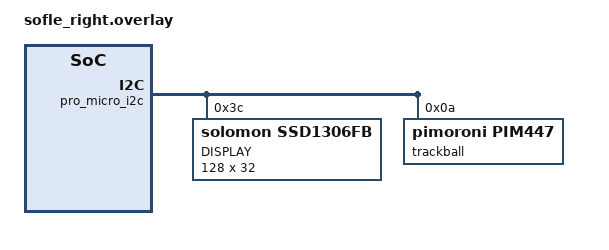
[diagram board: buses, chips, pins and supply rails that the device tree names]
#include <dt-bindings/i2c/i2c.h>

// El trackball está en los pines del OLED, usar el mismo bus I2C
&pro_micro_i2c {
    status = "okay";
    
    // Habilitar OLED también si está conectado
    oled: ssd1306@3c {
        compatible = "solomon,ssd1306fb";
        reg = <0x3c>;
        label = "DISPLAY";
        width = <128>;
        height = <32>;
        segment-offset = <0>;
        page-offset = <0>;
        display-offset = <0>;
        multiplex-ratio = <31>;
        segment-remap;
        com-invdir;
        com-sequential;
        prechargep = <0x22>;
        status = "okay";
    };

    // Trackball en el mismo bus I2C que OLED
    trackball: trackball@0a {
        compatible = "pimoroni,pim447", "pimoroni,trackball";
        reg = <0x0a>;
        status = "okay";
    };
};

/* Indica a ZMK que este es el pointing device */
&chosen { 
    zmk,pointing-device = &trackball;
    zmk,display = &oled;
};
